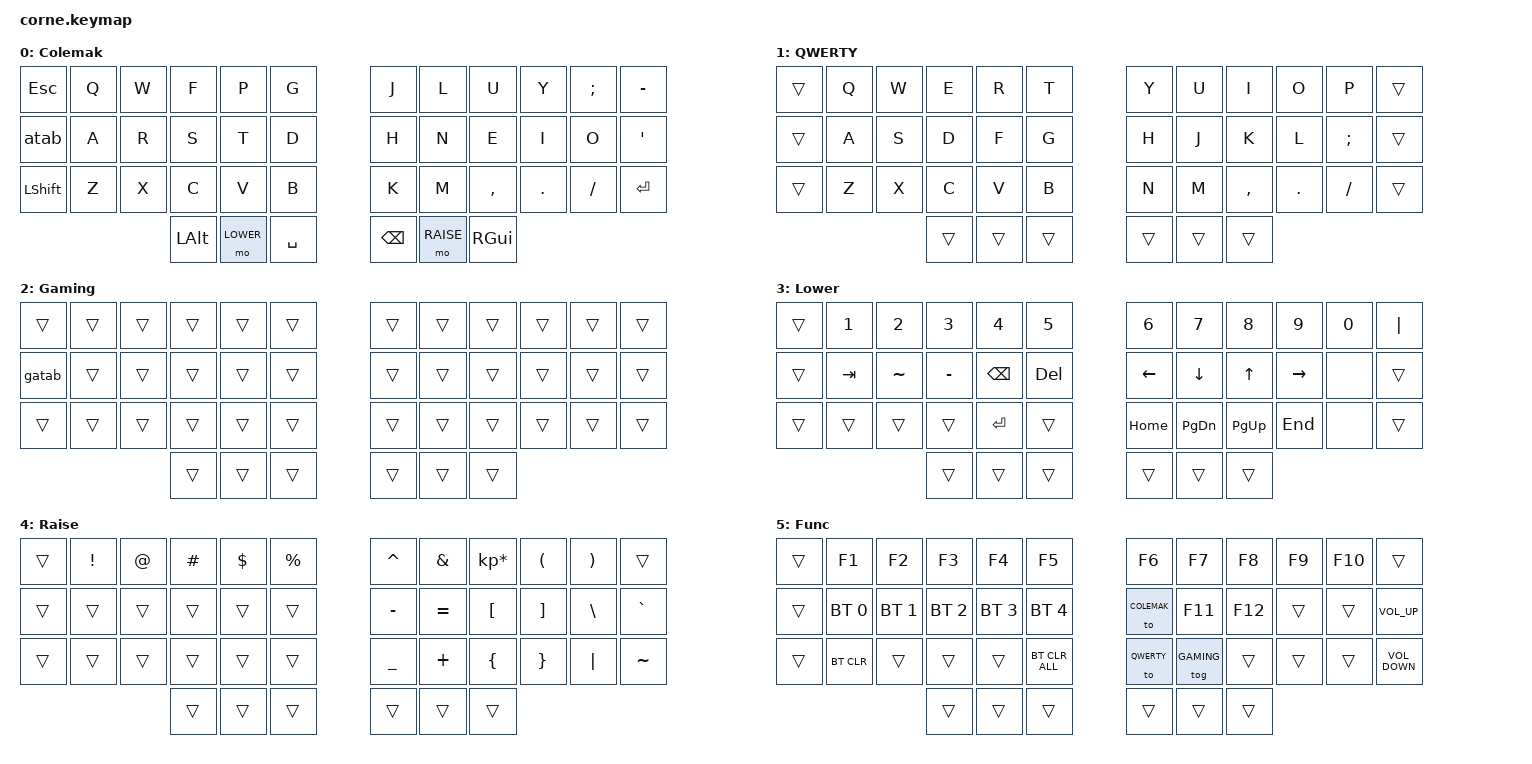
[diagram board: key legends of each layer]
/*
 * Copyright (c) 2020 The ZMK Contributors
 *
 * SPDX-License-Identifier: MIT
 */

#include <behaviors.dtsi>
#include <dt-bindings/zmk/bt.h>
#include <dt-bindings/zmk/keys.h>

#define COLEMAK 0
#define QWERTY  1
#define GAMING  2
#define LOWER   3
#define RAISE   4
#define FUNCT   5

&mt {
    tapping-term-ms = <200>;
};

/ {
    behaviors {
        atab: alt_tab {
            compatible = "zmk,behavior-mod-morph";
            label = "ALT_TAB";
            #binding-cells = <0>;
            bindings =
                <&mt LCTRL TAB>,
                <&kp TAB>;

            mods = <(MOD_LALT)>;
            keep-mods = <(MOD_LALT)>;
        };

        gatab: gaming_alt_tab {
            compatible = "zmk,behavior-mod-morph";
            label = "GAMING_ALT_TAB";
            #binding-cells = <0>;
            bindings =
                <&kp LCTRL>,
                <&kp TAB>;

            mods = <(MOD_LALT)>;
            keep-mods = <(MOD_LALT)>;
        };
    };

    conditional_layers {
        compatible = "zmk,conditional-layers";

        tri_layer {
            if-layers = <LOWER RAISE>;
            then-layer = <FUNCT>;
        };
    };

    keymap {
        compatible = "zmk,keymap";

        colemak_layer {
            // ------------------------------------------------------------------------------------
            // | ESC        |  Q  |  W  |  F  |  P  |  G  |   |  J  |  L  |  U  |  Y  |  ;  |  -  |
            // | CTRL (TAB) |  A  |  R  |  S  |  T  |  D  |   |  H  |  N  |  E  |  I  |  O  |  '  |
            // | SHFT       |  Z  |  X  |  C  |  V  |  B  |   |  K  |  M  |  ,  |  .  |  /  | RET |
            //                          | ALT | LWR | SPC |   | BKS | RSE | GUI |

            label = "Colemak";
            bindings = <
  &kp ESC  &kp Q  &kp W     &kp F      &kp P      &kp G       &kp J      &kp L      &kp U    &kp Y  &kp SEMI &kp MINUS
    &atab  &kp A  &kp R     &kp S      &kp T      &kp D       &kp H      &kp N      &kp E    &kp I     &kp O   &kp SQT
&kp LSHFT  &kp Z  &kp X     &kp C      &kp V      &kp B       &kp K      &kp M  &kp COMMA  &kp DOT  &kp FSLH   &kp RET
                         &kp LALT  &mo LOWER  &kp SPACE    &kp BSPC  &mo RAISE   &kp RGUI
            >;
        };

        qwerty_layer {
            // -----------------------------------------------------------------------------
            // |     |  Q  |  W  |  E  |  R  |  T  |   |  Y  |  U  |  I  |  O  |  P  |     |
            // |     |  A  |  S  |  D  |  F  |  G  |   |  H  |  J  |  K  |  L  |  ;  |     |
            // |     |  Z  |  X  |  C  |  V  |  B  |   |  N  |  M  |  ,  |  .  |  /  |     |
            //                   |     |     |     |   |     |     |     |

            label = "QWERTY";
            bindings = <
&trans  &kp Q  &kp W   &kp E   &kp R   &kp T       &kp Y   &kp U      &kp I    &kp O     &kp P   &trans
&trans  &kp A  &kp S   &kp D   &kp F   &kp G       &kp H   &kp J      &kp K    &kp L  &kp SEMI   &trans
&trans  &kp Z  &kp X   &kp C   &kp V   &kp B       &kp N   &kp M  &kp COMMA  &kp DOT  &kp FSLH   &trans
                      &trans  &trans  &trans      &trans  &trans     &trans
            >;
        };

        gaming_layer {
            // ------------------------------------------------------------------------------
            // |      |     |     |     |     |     |   |     |     |     |     |     |     |
            // | CTRL |     |     |     |     |     |   |     |     |     |     |     |     |
            // |      |     |     |     |     |     |   |     |     |     |     |     |     |
            //                    |     |     |     |   |     |     |     |

                        label = "Gaming";
            bindings = <
   &trans  &trans  &trans  &trans  &trans  &trans    &trans  &trans  &trans  &trans  &trans  &trans
   &gatab  &trans  &trans  &trans  &trans  &trans    &trans  &trans  &trans  &trans  &trans  &trans
   &trans  &trans  &trans  &trans  &trans  &trans    &trans  &trans  &trans  &trans  &trans  &trans
                           &trans  &trans  &trans    &trans  &trans  &trans
            >;
        };

        lower_layer {
            // ---------------------------------------------------------------------------------
            // |     |  1  |  2  |  3  |  4  |  5  |   |  6   |  7   |  8   |  9  |  0  | "|" |
            // |     | TAB |  ~  |  -  | BKS | DEL |   | LFT  | DWN  |  UP  | RGT |     |     |
            // |     |     |     |     | ENT |     |   | HOME | PGDN | PGUP | END |     |     |
            //                   |     |     |     |   |      |      |      |

            label = "Lower";
            bindings = <
&trans   &kp N1     &kp N2     &kp N3   &kp N4    &kp N5      &kp N6     &kp N7     &kp N8     &kp N9  &kp N0  &kp PIPE
&trans  &kp TAB  &kp TILDE  &kp MINUS &kp BSPC   &kp DEL    &kp LEFT   &kp DOWN     &kp UP  &kp RIGHT   &none    &trans
&trans   &trans     &trans     &trans  &kp RET    &trans    &kp HOME  &kp PG_DN  &kp PG_UP    &kp END   &none    &trans
                               &trans   &trans    &trans      &trans     &trans     &trans
            >;
        };

        raise_layer {
            // -----------------------------------------------------------------------------
            // |     |  !  |  @  |  #  |  $  |  %  |   |  ^  |  &  |  *  |  (  |  )  |     |
            // |     |     |     |     |     |     |   |  -  |  =  |  [  |  ]  |  \  |  `  |
            // |     |     |     |     |     |     |   |  _  |  +  |  {  |  }  | "|" |  ~  |
            //                   |     |     |     |   |     |     |     |

            label = "Raise";
            bindings = <
&trans  &kp EXCL  &kp AT  &kp HASH  &kp DLLR  &kp PRCNT    &kp CARET   &kp AMPS  &kp KP_MULTIPLY  &kp LPAR  &kp RPAR     &trans
&trans    &trans  &trans    &trans    &trans     &trans    &kp MINUS  &kp EQUAL         &kp LBKT  &kp RBKT  &kp BSLH  &kp GRAVE
&trans    &trans  &trans    &trans    &trans     &trans    &kp UNDER   &kp PLUS         &kp LBRC  &kp RBRC  &kp PIPE  &kp TILDE
                            &trans    &trans     &trans       &trans     &trans           &trans
            >;
        };

        function_layer {
            // -------------------------------------------------------------------------------------------------------
            // |     |  F1   |  F2  |  F3  |  F4  |    F5    |   |  F6   |  F7    |  F8   |  F9   |  F10  |          |
            // |     |  BT1  | BT2  | BT3  | BT4  |   BT5    |   |COLEMAK|  F11   |  F12  |       |       | VOL_UP   |
            // |     | BTCLR |      |      |      | BTCLRALL |   |QWERTY | GAMING |       |       |       | VOL_DOWN |
            //                      |      |      |          |   |       |        |       |

            label = "Func";
            bindings = <
&trans        &kp F1        &kp F2        &kp F3        &kp F4         &kp F5         &kp F6       &kp F7   &kp F8  &kp F9  &kp F10             &trans
&trans  &bt BT_SEL 0  &bt BT_SEL 1  &bt BT_SEL 2  &bt BT_SEL 3   &bt BT_SEL 4    &to COLEMAK      &kp F11  &kp F12  &trans   &trans    &kp C_VOLUME_UP
&trans    &bt BT_CLR        &trans        &trans        &trans &bt BT_CLR_ALL    &to QWERTY  &tog GAMING   &trans  &trans   &trans  &kp C_VOLUME_DOWN
                                          &trans        &trans         &trans         &trans       &trans   &trans
            >;
        };
    };
};
